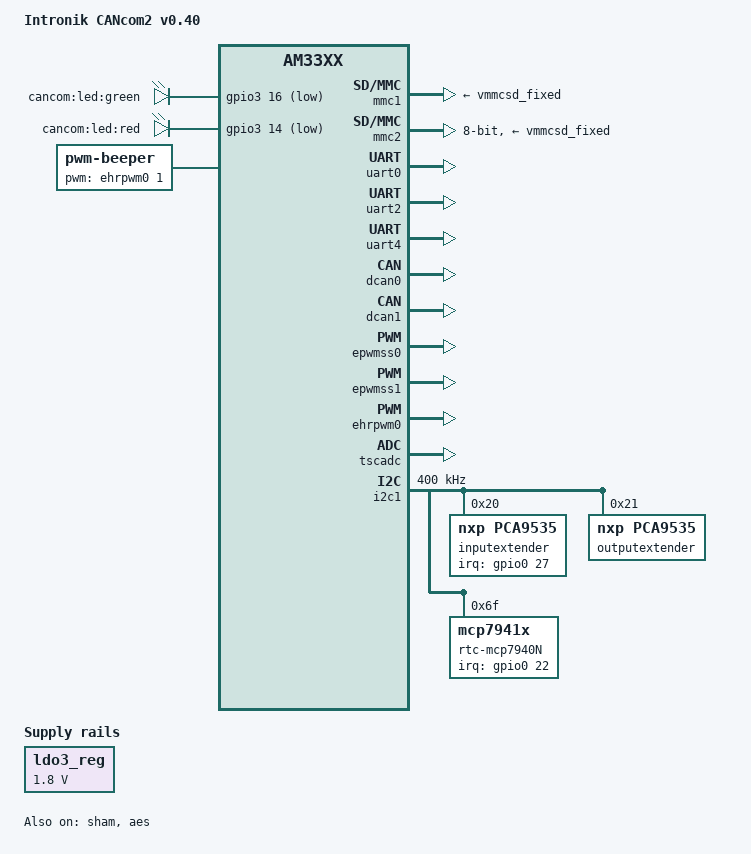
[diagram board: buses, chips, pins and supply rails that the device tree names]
/*
 * Copyright (C) 2016 Intronik GmbH
 *
 * Hardware specification for Intronik CANcom module.
 * V0.40 (02.09.2016) - 2016-10-21 Daniel Gross
 * V0.20 (11.03.2016) - 2016-05-18 Daniel Gross
 */
/dts-v1/;

#include "am33xx.dtsi"
#include "am335x-bone-common-no-capemgr.dtsi"
#include "am335x-intronik-pinmux.dtsi"
#include <dt-bindings/interrupt-controller/irq.h>
#include <dt-bindings/input/input.h>

/ {
	model = "Intronik CANcom2 v0.40";
	compatible = "ti,am335x-bone-black", "ti,am335x-bone", "ti,am33xx";
};

&ldo3_reg {
	regulator-min-microvolt = <1800000>;
	regulator-max-microvolt = <1800000>;
	regulator-always-on;
};

&sham {
	status = "okay";
};

&aes {
	status = "okay";
};

&mmc1 {	// sd-card
	vmmc-supply = <&vmmcsd_fixed>;
};

&mmc2 {	// emmc
	status = "okay";
	vmmc-supply = <&vmmcsd_fixed>;
	pinctrl-names = "default";
	pinctrl-0 = <&emmc_pins>;
	bus-width = <8>;
};

&uart0 { // X3.3 (J1.4), X3.1 (J1.5)
	pinctrl-names = "default";
	pinctrl-0 = <&uart0_pins>;
	status = "okay";
};

&uart2 { // X7.3 (P9.21), X7.1 (P9.22)
	status = "okay";
	pinctrl-names = "default", "sleep";
	pinctrl-0 = <&P9_22_uart_pin &P9_21_uart_pin>;
	pinctrl-1 = <&P9_22_default_pin &P9_21_default_pin>;
}; 

&uart4 { // X6.3 (P9.11), X6.1 (P9.13)
	status = "okay";
	pinctrl-names = "default", "sleep";
	pinctrl-0 = <&P9_11_uart_pin &P9_13_uart_pin>;
	pinctrl-1 = <&P9_11_default_pin &P9_13_default_pin>;
};

&dcan0 { // X2
	 status = "okay";
	 pinctrl-names = "default", "sleep";
	 pinctrl-0 = <&P9_19_can_pin &P9_20_can_pin>;
	 pinctrl-1 = <&P9_19_default_pin &P9_20_default_pin>;
};

&dcan1 { // X3
	 status = "okay";
	 pinctrl-names = "default", "sleep";
	 pinctrl-0 = <&P9_24_can_pin &P9_26_can_pin>;
	 pinctrl-1 = <&P9_24_default_pin &P9_26_default_pin>;
};

&epwmss0 {
	status = "okay";
};

&epwmss1 {
	status = "okay";
};

&ehrpwm0 { // pwm module used beeper (EHRPWM0B)
	status = "okay";
	pinctrl-names = "default", "sleep";
	pinctrl-0 = <&P9_29_pwm_pin>;
	pinctrl-1 = <&P9_29_gpio_pd_pin>;
};

&pruss {
	status = "disabled";
};

&lcdc {	// hdmi is not required
	status = "disabled";
};

&rtc {  // we use an external i2c rtc, so this should be disabled
	status = "disable";
};

&tscadc {
    status = "okay";
};

&am335x_adc {
    // https://gist.github.com/matthewmcneely/bf44655c74096ff96475
    // path "/sys/bus/iio/devices/iio:device0"
    // 12bit raw, 4095==1800mV => 0,43956043956043956043956043956044mV/#
    // Spannungsteiler BBB 22,38
	// AIN0 - P9_39 VInp => ca. 1mV/#
	// AIN1 - P9_40 xAInp => ca. 1mV/#
    ti,adc-channels = <0 1>;
};

&i2c1 {
	status = "okay";
	pinctrl-names = "default", "sleep";
	pinctrl-0 = <&P9_17_i2c_pin &P9_18_i2c_pin>;
	pinctrl-1 = <&P9_17_default_pin &P9_18_default_pin>;
	clock-frequency = <400000>;
		
	inputextender: inputextender@20 {
		reg = <0x20>;
		compatible = "nxp,pca9535";
		pinctrl-names = "default";
		pinctrl-0 = <&P8_17_gpio_pu_pin>;
		gpio-controller;
		#gpio-cells = <2>;
		interrupt-parent = <&gpio0>;
		interrupts = <27 IRQ_TYPE_EDGE_FALLING>;
		interrupt-controller;
		#interrupt-cells = <2>;
	};
	outputextender: outputextender@21 {
		reg = <0x21>;
		#gpio-cells = <2>;
		compatible = "nxp,pca9535";
	};

	rtc-mcp7940N@6F {
		reg = <0x6f>;
		compatible = "mcp7941x";
		pinctrl-names = "default";
		pinctrl-0 = <&P8_19_gpio_pu_pin>;
		interrupt-parent = <&gpio0>;
		interrupts = <22 IRQ_TYPE_EDGE_FALLING>;
	};
};

&i2c2 { // required to enable CAN0
	status = "disable";
};


// we do not want the default leds (that way we save a lot of power, in sleep)
/delete-node/ &leds;

/ {
	cpus {
		cpu@0 {
			cpu0-supply = <&dcdc2_reg>;
			/*
			 * To consider voltage drop between PMIC and SoC,
			 * tolerance value is reduced to 2% from 4% and
			 * voltage value is increased as a precaution.
			 */
			operating-points = <
				/* kHz    uV */
				1000000	1325000
				800000	1300000
				600000	1112000
				300000	969000
			>;
		};
	};

	intronik_leds: intronik_leds {
		pinctrl-names = "default", "sleep";
		pinctrl-0 = <&P9_30_gpio_pu_pin &P9_31_gpio_pu_pin>;
		pinctrl-1 = <&P9_30_gpio_pu_pin &P9_31_gpio_pu_pin>;
		compatible = "gpio-leds";
		
		led@green {		// P9_30
			label = "cancom:led:green";
			gpios = <&gpio3 16 GPIO_ACTIVE_LOW>;
			linux,default-trigger = "heartbeat";
			default-state = "off";
		};
		
		led@red {		// P9_31
			label = "cancom:led:red";
			gpios = <&gpio3 14 GPIO_ACTIVE_LOW>;
			linux,default-trigger = "timer";
			default-state = "off";
		};
	};

	beeper: beeper {
		status = "okay";
		compatible = "pwm-beeper";
		pwms = <&ehrpwm0 1 250000 0>; // EHRPWM0B 4kHz
	};
	
	CanComIo {
		pinctrl-names = "default", "sleep";
		pinctrl-0 = <
			&P8_13_gpio_pin		// UART2 RX Wakeup Event
			&P8_14_gpio_pin		// UART4 RX Wakeup Event
			&P9_41_gpio_pin		// CAN0 RX Wakeup Event
			&P9_42_gpio_pin		// CAN1 RX Wakeup Event
		>;
		pinctrl-1 = <
			&P8_13_gpio_pin		// UART2 RX Wakeup Event
			&P8_14_gpio_pin		// UART4 RX Wakeup Event
			&P9_41_gpio_pin		// CAN0 RX Wakeup Event
			&P9_42_gpio_pin		// CAN1 RX Wakeup Event
		>;

		compatible = "gpio-of-helper";
		status = "okay";
		
		// !!!BITTE BEACHTEN!!!
		// Es müssen hier zuerst die IOs vom i2c-gpioextender verwendet werden.
		// Der gpioextender gibt beim ersten Aufruf meist ERR_DEFERR zurück, wenn
		// dann aber schon ein Teil der IOs angelegt ist, kommt der gpio-of-helper
		// nicht damit klar und bricht alles ab.
		
		CanComInp00 {
			gpio-name = "Inp00";
			gpio = <&inputextender 0 0>;
			input;
		};		
		CanComInp01 {
			gpio-name = "Inp01";
			gpio = <&inputextender 1 0>;
			input;
		};
		CanComInp02 {
			gpio-name = "Inp02";
			gpio = <&inputextender 2 0>;
			input;
		};
		CanComInp03 {
			gpio-name = "Inp03";
			gpio = <&inputextender 3 0>;
			input;
		};
		CanComInp04 {
			gpio-name = "Inp04";
			gpio = <&inputextender 4 0>;
			input;
		};
		CanComInp05 {
			gpio-name = "Inp05";
			gpio = <&inputextender 5 0>;
			input;
		};
		CanComInp06 {
			gpio-name = "Inp06";
			gpio = <&inputextender 6 0>;
			input;
		};
		CanComInp07 {
			gpio-name = "Inp07";
			gpio = <&inputextender 7 0>;
			input;
		};		
		CanComInp08 {
			gpio-name = "Inp08";
			gpio = <&inputextender 8 0>;
			input;
		};		
		CanComInp09 {
			gpio-name = "Inp09";
			gpio = <&inputextender 9 0>;
			input;
		};
		CanComInp10 {
			gpio-name = "Inp10";
			gpio = <&inputextender 10 0>;
			input;
		};
		CanComInp11 {
			gpio-name = "Inp11";
			gpio = <&inputextender 11 0>;
			input;
		};
		CanComInp12 {
			gpio-name = "Inp12";
			gpio = <&inputextender 12 0>;
			input;
		};
		CanComInp13 {
			gpio-name = "Inp13";
			gpio = <&inputextender 13 0>;
			input;
		};
		CanComInp14 {
			gpio-name = "Inp14";
			gpio = <&inputextender 14 0>;
			input;
		};
		CanComInp15 {
			gpio-name = "Inp15";
			gpio = <&inputextender 15 0>;
			input;
		};		
		//		
		// OUTPUTS
		//
		CanComOut00 {
			gpio-name = "Out00";
			gpio = <&outputextender 0 0>;
			output;
			init-low;
		};	
		CanComOut01 {
			gpio-name = "Out01";
			gpio = <&outputextender 1 0>;
			output;
			init-low;
		};	
		CanComOut02 {
			gpio-name = "Out02";
			gpio = <&outputextender 2 0>;
			output;
			init-low;
		};
		CanComOut03 {
			gpio-name = "Out03";
			gpio = <&outputextender 3 0>;
			output;
			init-low;
		};
		CanComOut04 {
			gpio-name = "Out04";
			gpio = <&outputextender 4 0>;
			output;
			init-low;
		};
		CanComOut05 {
			gpio-name = "Out05";
			gpio = <&outputextender 5 0>;
			output;
			init-low;
		};
		CanComOut06 {
			gpio-name = "Out06";
			gpio = <&outputextender 6 0>;
			output;
			init-low;
		};	
		CanComOut07 {
			gpio-name = "Out07";
			gpio = <&outputextender 7 0>;
			output;
			init-low;
		};	
		CanComOut08 {
			gpio-name = "Out08";
			gpio = <&outputextender 8 0>;
			output;
			init-low;
		};	
		CanComOut09 {
			gpio-name = "Out09";
			gpio = <&outputextender 9 0>;
			output;
			init-low;
		};
		CanComOut10 {
			gpio-name = "Out10";
			gpio = <&outputextender 10 0>;
			output;
			init-low;
		};	
		CanComOut11 {
			gpio-name = "Out11";
			gpio = <&outputextender 11 0>;
			output;
			init-low;
		};	
		CanComOutCanPwrEnable {	// P9_16: OUT_12
			gpio-name = "OutCanPwrEnable";
			gpio = <&outputextender 12 0>;
			output;
			init-high;
		};	
		
		// just for can wakup reasons
		UART2Wakup { // P8_13 UART2 RX
			gpio-name = "InpUart2rx";
			gpio = <&gpio0 23 0>;
			input;
		};
		UART4Wakup { // P8_14 UART2 RX
			gpio-name = "InpUart4rx";
			gpio = <&gpio0 26 0>;
			input;
		};
		Can0Wakup { // P9_41 CAN0 RX
			gpio-name = "InpCan0rx";
			gpio = <&gpio0 20 0>;
			input;
		};
		Can1Wakup { // P9_42 CAN1 RX
			gpio-name = "InpCan1rx";
			gpio = <&gpio0 7 0>;
			input;
		};
	};
};
